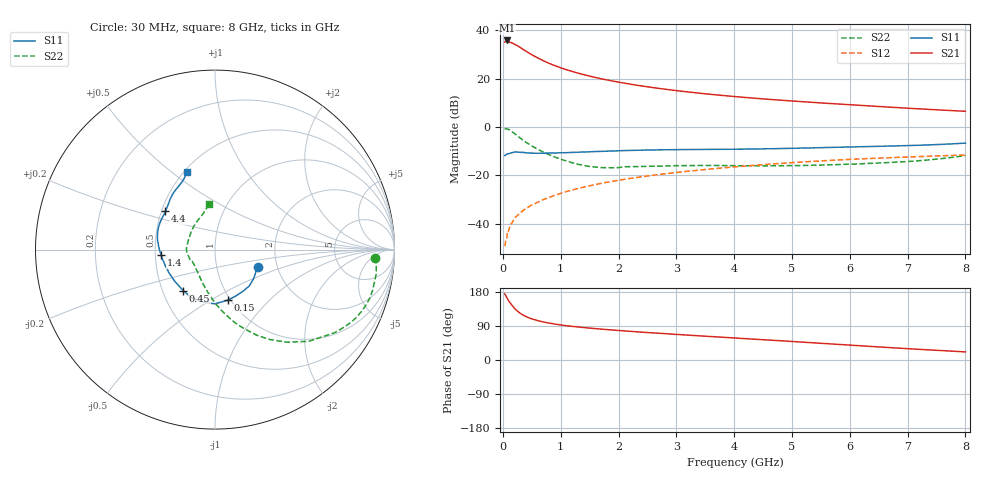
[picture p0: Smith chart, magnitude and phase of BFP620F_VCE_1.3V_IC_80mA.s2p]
! Infineon Technologies  Discrete & RF Semiconductors
! BFP620F
! VCE =  1.3 V,  IC =  80 mA
! Common Emitter S-Parameters:  Dec 2014
# GHz  S  MA  R  50
!  f  S11  S21  S12  S22
! GHz  MAG  ANG  MAG  ANG  MAG  ANG  MAG  ANG
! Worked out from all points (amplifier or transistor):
!   95 points, 30 MHz to 8 GHz, reference 50 ohm
!   highest |S21| = 35.8 dB at 70 MHz (marker M1)
!   |S21| within 3 dB of that: start of sweep to 307.2 MHz
!   unconditionally stable (mu >= 1): 1.468 GHz to end of sweep
!   at 300 MHz: K = 0.60, MSG = 34.3 dB, |S12| = -35.7 dB
!   at 3.3 GHz: K = 1.04, MAG = 14.9 dB, |S12| = -18.1 dB
!   at 8 GHz: K = 1.06, MAG = 7.6 dB, |S12| = -11.6 dB
!   S11 on the Smith chart (normalised r, x): 30 MHz: 1.58, -0.32; 150 MHz: 0.97, -0.60; 450 MHz: 0.64, -0.32; 1.4 GHz: 0.54, -0.03; 4.4 GHz: 0.52, +0.26; 8 GHz: 0.51, +0.57
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0.03  0.2558 -21.6  57.03 174.8  0.0034 85.6  0.8953 -2.9
0.05  0.2624 -31.0  60.01 170.1  0.0045 103.9  0.9084 -8.7
0.07  0.2723 -41.2  61.51 164.3  0.0052 86.7  0.9071 -14.5
0.1  0.2799 -56.4  58.73 156.3  0.0073 80.5  0.8858 -22.9
0.12  0.2828 -65.6  56.36 151.8  0.0086 77.6  0.859 -28.2
0.15  0.2907 -75.9  55.32 145.9  0.0099 76.7  0.8102 -34.9
0.2  0.302 -89.9  51.53 136.5  0.0129 74.6  0.7304 -44.4
0.25  0.3008 -100.7  48 129.2  0.0146 72.0  0.6534 -52.1
0.3  0.2977 -109.1  44.16 123.2  0.0165 69.0  0.5874 -58.6
0.35  0.2972 -117.0  40.08 118.5  0.0186 71.0  0.5306 -64.0
0.45  0.2886 -127.8  33.93 111.3  0.0223 69.4  0.4406 -72.8
0.6  0.2854 -141.3  26.81 104.0  0.0275 69.7  0.3447 -83.4
0.8  0.2874 -153.3  20.68 97.3  0.0347 70.0  0.2659 -94.8
1.1  0.2927 -165.8  15.25 90.5  0.046 70.1  0.196 -111.1
1.4  0.3029 -174.4  12.05 85.6  0.0567 69.3  0.1591 -127.2
1.9  0.3171 174.7  8.885 79.1  0.0749 67.1  0.1424 -152.1
2.7  0.3348 162.3  6.261 70.6  0.1033 62.2  0.1546 -170.3
4.1  0.346 145.2  4.155 57.2  0.1518 52.8  0.1573 172.0
4.4  0.3501 142.1  3.884 54.5  0.162 50.6  0.1565 167.2
5.4  0.3692 133.7  3.194 45.1  0.1946 43.0  0.1613 149.2
6.7  0.4015 122.1  2.56 32.7  0.2307 32.7  0.1838 124.7
8  0.4619 110.0  2.102 21.3  0.2616 22.8  0.2548 97.7
